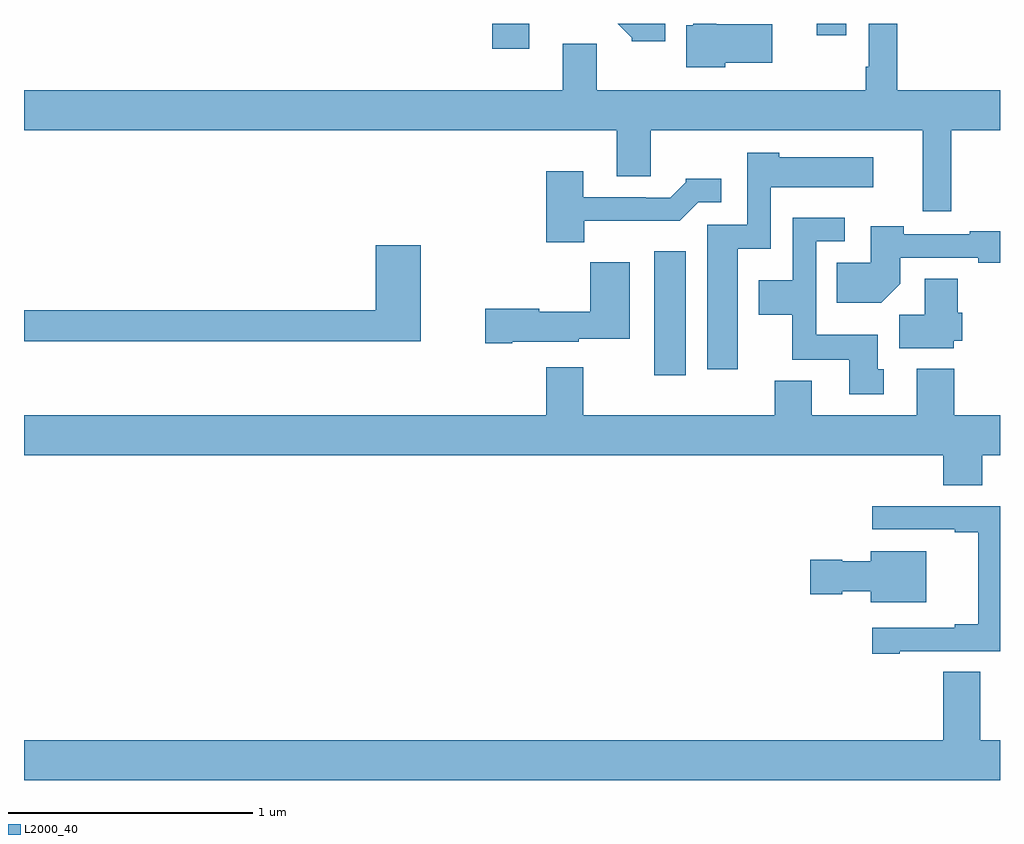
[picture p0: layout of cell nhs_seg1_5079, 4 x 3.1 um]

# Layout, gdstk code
import gdstk
lib = gdstk.Library(unit=1e-6, precision=1e-09)
def R(c, l, rs):  # rectangles x0, y0, x1, y1
    for r in rs: c.add(gdstk.rectangle(r[:2], r[2:], *l))
def P(c, l, *ps):  # polygons
    for p in ps: c.add(gdstk.Polygon(p, *l))
L2000_40 = (2000, 40)

nhs_seg1_5079 = lib.new_cell('nhs_seg1_5079')
R(nhs_seg1_5079, L2000_40, [(389.582,518.76,389.713,519.268), (388.919,520.097,389.071,520.199), (390.248,520.152,390.37,520.199)])
P(nhs_seg1_5079, L2000_40, [(389.874,520.04),(390.067,520.04),(390.067,520.198),(389.838,520.198),(389.838,520.199),(389.742,520.199),(389.742,520.194),(389.714,520.194),(389.714,520.022),(389.874,520.022)],
  [(389.629,520.199),(389.433,520.199),(389.49,520.142),(389.49,520.127),(389.629,520.127)],
  [(390.8,519.764),(391,519.764),(391,519.928),(390.578,519.928),(390.578,520.199),(390.462,520.199),(390.462,520.024),(390.45,520.024),(390.45,519.928),(389.347,519.928),(389.347,520.118),(389.207,520.118),(389.207,519.928),(387,519.928),(387,519.764),(389.429,519.764),(389.429,519.574),(389.569,519.574),(389.569,519.764),(390.683,519.764),(390.683,519.432),(390.8,519.432)],
  [(389.926,519.278),(390.06,519.278),(390.06,519.53),(390.481,519.53),(390.481,519.652),(390.096,519.652),(390.096,519.67),(389.964,519.67),(389.964,519.375),(389.801,519.375),(389.801,518.784),(389.926,518.784)],
  [(389.296,519.392),(389.687,519.392),(389.763,519.468),(389.857,519.468),(389.857,519.565),(389.712,519.565),(389.712,519.55),(389.648,519.486),(389.549,519.486),(389.549,519.489),(389.293,519.489),(389.293,519.595),(389.141,519.595),(389.141,519.305),(389.296,519.305)],
  [(390.523,518.784),(390.499,518.784),(390.499,518.926),(390.246,518.926),(390.246,519.309),(390.364,519.309),(390.364,519.405),(390.15,519.405),(390.15,519.148),(390.011,519.148),(390.011,519.008),(390.148,519.008),(390.148,518.822),(390.383,518.822),(390.383,518.682),(390.523,518.682)],
  [(390.592,519.134),(390.592,519.24),(390.91,519.24),(390.91,519.22),(391,519.22),(391,519.349),(390.877,519.349),(390.877,519.336),(390.605,519.336),(390.605,519.37),(390.47,519.37),(390.47,519.22),(390.331,519.22),(390.331,519.056),(390.514,519.056)],
  [(388.625,519.292),(388.442,519.292),(388.442,519.026),(387,519.026),(387,518.898),(388.625,518.898)],
  [(389.002,518.897),(389.274,518.897),(389.274,518.909),(389.482,518.909),(389.482,519.223),(389.32,519.223),(389.32,519.019),(389.112,519.019),(389.112,519.032),(388.89,519.032),(388.89,518.89),(389.002,518.89)],
  [(390.81,518.901),(390.845,518.901),(390.845,519.015),(390.827,519.015),(390.827,519.155),(390.692,519.155),(390.692,519.008),(390.587,519.008),(390.587,518.87),(390.81,518.87)],
  [(390.927,518.432),(391,518.432),(391,518.596),(390.812,518.596),(390.812,518.785),(390.659,518.785),(390.659,518.596),(390.229,518.596),(390.229,518.737),(390.077,518.737),(390.077,518.596),(389.293,518.596),(389.293,518.791),(389.141,518.791),(389.141,518.596),(387,518.596),(387,518.432),(390.767,518.432),(390.767,518.308),(390.927,518.308)],
  [(390.589,517.629),(391,517.629),(391,518.223),(390.477,518.223),(390.477,518.127),(390.815,518.127),(390.815,518.115),(390.911,518.115),(390.911,517.738),(390.815,517.738),(390.815,517.725),(390.477,517.725),(390.477,517.617),(390.589,517.617)],
  [(390.697,518.038),(390.47,518.038),(390.47,517.996),(390.354,517.996),(390.354,518.004),(390.222,518.004),(390.222,517.862),(390.354,517.862),(390.354,517.874),(390.47,517.874),(390.47,517.829),(390.697,517.829)],
  [(391,517.264),(390.919,517.264),(390.919,517.544),(390.767,517.544),(390.767,517.264),(387,517.264),(387,517.1),(391,517.1)])

lib.write_gds('nhs_seg1_5079.gds')
